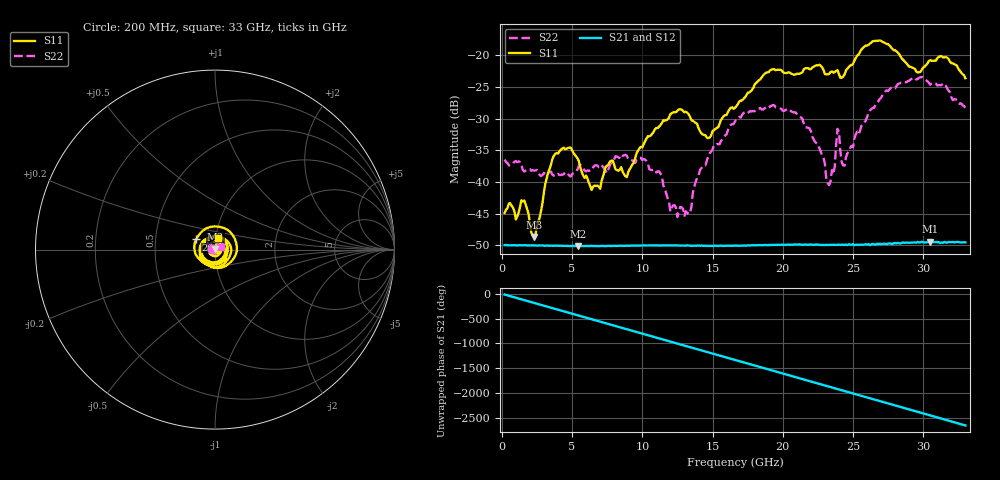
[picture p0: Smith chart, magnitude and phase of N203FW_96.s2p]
# GHZ S RI R 50
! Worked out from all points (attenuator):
!   329 points, 200 MHz to 33 GHz, reference 50 ohm
!   highest |S21| = -49.42 dB at 30.5 GHz (marker M1); lowest = -50.1 dB at 5.4 GHz (marker M2)
!   lowest |S11| = -48.7 dB at 2.3 GHz (marker M3), VSWR 1.01, Z = 50.1 + j0.353 ohm
!   |S11| at or under -10 dB: start of sweep to end of sweep
!   |S22| runs from -45.5 to -23.4 dB; largest |S21 - S12| = 8.8e-05
!   S11 on the Smith chart (normalised r, x): 200 MHz: 1.01, +0.00; 26 GHz: 0.81, +0.09; 33 GHz: 1.03, +0.13
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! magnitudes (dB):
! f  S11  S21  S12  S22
! 200 MHz  -44.9  -50.0  -49.9  -36.5
! 1.6 GHz  -42.9  -50.0  -50.0  -38.4
! 2.3 GHz  -48.7  -50.0  -50.0  -38.2
! 3.7 GHz  -35.9  -50.1  -50.0  -39.0
! 5.4 GHz  -36.3  -50.1  -50.1  -38.0
! 5.7 GHz  -38.5  -50.1  -50.1  -37.7
! 8.9 GHz  -39.2  -50.0  -50.0  -35.9
! 11.2 GHz  -31.3  -50.0  -50.0  -38.3
! 12 GHz  -29.3  -50.0  -50.0  -44.7
! 13.3 GHz  -29.3  -50.0  -50.0  -45.1
! 14.7 GHz  -33.1  -50.1  -50.0  -36.0
! 16.6 GHz  -28.3  -50.0  -50.0  -30.4
! 19.3 GHz  -22.2  -49.9  -49.9  -27.9
! 22.1 GHz  -22.0  -49.9  -49.9  -32.8
! 23.3 GHz  -23.0  -49.9  -49.9  -40.5
! 23.7 GHz  -22.6  -49.9  -49.9  -37.6
! 23.9 GHz  -22.4  -49.9  -49.9  -31.6
! 24.4 GHz  -23.1  -49.9  -49.8  -37.4
! 26 GHz  -18.5  -49.9  -49.8  -29.8
! 27.6 GHz  -18.5  -49.7  -49.7  -25.4
! 30.5 GHz  -20.8  -49.4  -49.5  -24.7
! 33 GHz  -23.6  -49.5  -49.5  -28.4
